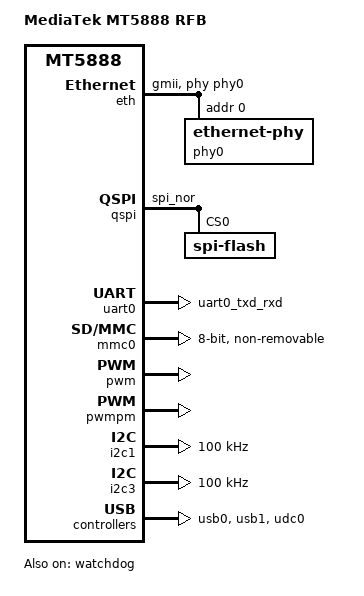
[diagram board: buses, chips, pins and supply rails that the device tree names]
/*
 * Copyright (C) 2018 MediaTek Inc.
 * Author: Ryder Lee <ryder.lee@mediatek.com>
 *
 * SPDX-License-Identifier: (GPL-2.0 OR MIT)
 */

/dts-v1/;
#include "mt5888.dtsi"

/ {
	model = "MediaTek MT5888 RFB";
	compatible = "mediatek,mt5888-rfb", "mediatek,mt5888";

	aliases {
		spi0 = &qspi;
	};

	chosen {
		stdout-path = &uart0;
		tick-timer = &timer0;
	};

	/* soft i2c example */
	/*softi2c: softi2c@0 {*/
	/*	compatible = "i2c-gpio";*/
	/*	gpios = <&gpio 0 0>,*/  /* sda */
	/*		<&gpio 1 0>;*/  /* scl */
	/*	i2c-gpio,delay-us = <2>;*/  /* 100kHz */
	/*	#address-cells = <1>;*/
	/*	#size-cells = <0>;*/
	/*	status = "okay";*/
	/*};*/

};

&eth {
	status = "okay";
	mediatek,gmac-id = <1>;
	phy-mode = "gmii";
	phy-handle = <&phy0>;

	phy0: ethernet-phy@0 {
		reg = <0>;
	};
};

&pinctrl {
	qspi_pins: qspi-pins {
		mux {
			function = "flash";
			groups = "spi_nor";
		};
	};

	uart0_pins: uart0-default {
		mux {
			function = "uart";
			groups = "uart0_txd_rxd";
		};
	};

	watchdog_pins: watchdog-default {
		mux {
			function = "watchdog";
			groups = "watchdog";
		};
	};
};

&qspi {
	pinctrl-names = "default";
	pinctrl-0 = <&qspi_pins>;
	status = "okay";

	spi-flash@0{
		compatible = "spi-flash";
		reg = <0>;
		u-boot,dm-pre-reloc;
	};
};

&uart0 {
	pinctrl-names = "default";
	pinctrl-0 = <&uart0_pins>;
	status = "okay";
};

&watchdog {
	pinctrl-names = "default";
	pinctrl-0 = <&watchdog_pins>;
	status = "okay";
};

&mmc0{
    cap-mmc-highspeed;
	mmc-ddr-1_8v;
    mmc-hs200-1_8v;
    mmc-hs400-1_8v;
    mmc-hs400-enhanced-strobe;
    status ="okay";
    bus-width = <8>;
    non-removable;
    max-frequency = <200000000>;
    host-driving = <0>;
    device-driving =<0>;
};

/* Panel backlight PWM */
&pwm {
	/* private control setting */
	shift = <0>;
	div = <0>;
	//rst-mux; /* enable/disable rst_mux */
	//rst-vsync; /* enable/disable vsync rst */
	rstcnt = <0>;

	pad-modes = <1 0 0 0>; /* pad modes of 4 pwm channels */
			       /* MT166B/MT165B only use channel 0 */
	status = "okay";
};

/* pwmdac example, MT166B/MT165B not use it */
//&pwmdac {
//	/* private control setting */
//	duty-offset = <0>; /* -127 ~ 127 */
//	div = <0>;
//	duty-auto-correct; /* switch duty value auto correct */
//	//double-buffer; /* switch double buffer */
//
//	pad-modes = <1 1>; /* pad modes of 2 pwm channels */
//	status = "ok";
//};

/* pwmpm, for MT166B/MT165B on board LED */
&pwmpm {
	/* private control setting */
	div = <255>;
	//double-buffer; /* enable/disable double buffer */

	/* pad modes of 2 pwm channels */
	/* only enable PM_PWM0 output for LED */
	pad-modes = <1 0>;

	status = "okay";
};

/* hw i2c0 example */
//&i2c0 {
//	pad-mode = <1>;
//	clock-frequency = <100000>;
//
//	start-count = <73>;         /* SCL and SDA count for start */
//	sda-count = <5>;            /* closk count between falling edge SCL and SDA */
//	data-latch-count = <5>;     /* data latch timing */
//	stop-count = <73>;          /* SCL and SDA count for stop */
//
//	status = "okay";
//};

&i2c1 {
	pad-mode = <1>;
	clock-frequency = <100000>;

	start-count = <73>;         /* SCL and SDA count for start */
	sda-count = <5>;            /* closk count between falling edge SCL and SDA */
	data-latch-count = <5>;     /* data latch timing */
	stop-count = <73>;          /* SCL and SDA count for stop */

	status = "okay";
};

/* hw i2c2 example */
//&i2c2 {
//	pad-mode = <1>;
//	clock-frequency = <100000>;
//
//	start-count = <73>;         /* SCL and SDA count for start */
//	sda-count = <5>;            /* closk count between falling edge SCL and SDA */
//	data-latch-count = <5>;     /* data latch timing */
//	stop-count = <73>;          /* SCL and SDA count for stop */
//
//	status = "okay";
//};

&i2c3 {
	pad-mode = <2>;
	clock-frequency = <100000>;

	start-count = <73>;         /* SCL and SDA count for start */
	sda-count = <5>;            /* closk count between falling edge SCL and SDA */
	data-latch-count = <5>;     /* data latch timing */
	stop-count = <73>;          /* SCL and SDA count for stop */

	status = "okay";
};

/* hw i2c4 example */
//&i2c4 {
//	pad-mode = <1>;
//	clock-frequency = <100000>;
//
//	start-count = <73>;         /* SCL and SDA count for start */
//	sda-count = <5>;            /* closk count between falling edge SCL and SDA */
//	data-latch-count = <5>;     /* data latch timing */
//	stop-count = <73>;          /* SCL and SDA count for stop */
//
//	status = "okay";
//};

&usb0{
    status ="okay";
};

&usb1{
    status ="okay";
};

&udc0{
    status ="okay";
};

